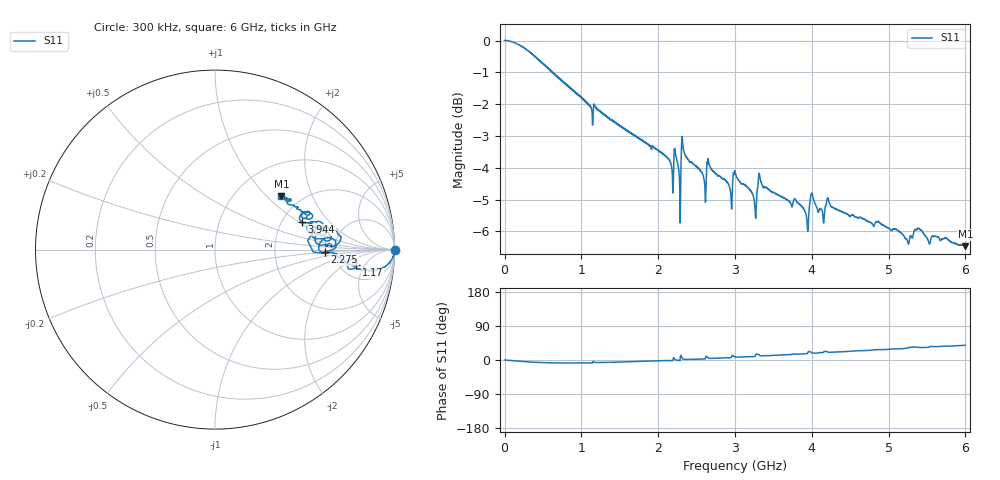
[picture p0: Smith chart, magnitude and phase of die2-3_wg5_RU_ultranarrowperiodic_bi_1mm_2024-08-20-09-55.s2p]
!Keysight Technologies,P9374A,MY57304198,A.17.20.09
!Date: Tuesday, August 20, 2024 09:55:30
!Correction: S11(C  1-Port  )
!S21(C  1-Port  )
!S12(Off)
!S22(Off)
!S2P File: Measurements: S11, S21, S12, S22:
# Hz S  dB  R 50
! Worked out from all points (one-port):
!   6000 points, 300 kHz to 6 GHz, reference 50 ohm
!   lowest |S11| = -6.5 dB at 5.999 GHz (marker M1), VSWR 2.81, Z = 79.7 + j61.3 ohm
!   |S11| at or under -10 dB: nowhere
!   S11 on the Smith chart (normalised r, x): 300 kHz: open; 1.17 GHz: 7.03, -3.24; 2.275 GHz: 4.15, -0.18; 3.944 GHz: 2.56, +1.06; 6 GHz: 1.59, +1.23
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300000  0.00 -0.0  -200.00 45.0  -200.00 45.0  -200.00 45.0
4.253496e8  -0.56 -6.3  -200.00 45.0  -200.00 45.0  -200.00 45.0
1.000417e9  -1.79 -7.7  -200.00 45.0  -200.00 45.0  -200.00 45.0
1.170437e9  -2.04 -6.3  -200.00 45.0  -200.00 45.0  -200.00 45.0
2.000533e9  -3.45 -2.2  -200.00 45.0  -200.00 45.0  -200.00 45.0
2.173554e9  -3.96 -1.6  -200.00 45.0  -200.00 45.0  -200.00 45.0
2.233561e9  -3.68 -0.0  -200.00 45.0  -200.00 45.0  -200.00 45.0
2.255563e9  -3.89 -0.5  -200.00 45.0  -200.00 45.0  -200.00 45.0
2.274565e9  -4.26 -1.3  -200.00 45.0  -200.00 45.0  -200.00 45.0
2.330572e9  -3.44 2.0  -200.00 45.0  -200.00 45.0  -200.00 45.0
2.598603e9  -4.38 2.5  -200.00 45.0  -200.00 45.0  -200.00 45.0
2.662611e9  -3.89 4.6  -200.00 45.0  -200.00 45.0  -200.00 45.0
2.939643e9  -4.72 6.0  -200.00 45.0  -200.00 45.0  -200.00 45.0
3.00065e9  -4.11 8.4  -200.00 45.0  -200.00 45.0  -200.00 45.0
3.25768e9  -5.18 9.3  -200.00 45.0  -200.00 45.0  -200.00 45.0
3.297685e9  -4.61 15.2  -200.00 45.0  -200.00 45.0  -200.00 45.0
3.333689e9  -4.41 11.2  -200.00 45.0  -200.00 45.0  -200.00 45.0
3.94376e9  -5.89 17.6  -200.00 45.0  -200.00 45.0  -200.00 45.0
4.000767e9  -4.79 19.3  -200.00 45.0  -200.00 45.0  -200.00 45.0
5.000883e9  -5.91 28.1  -200.00 45.0  -200.00 45.0  -200.00 45.0
5.999e9  -6.47 38.9  -200.00 45.0  -200.00 45.0  -200.00 45.0
6e9  -6.46 38.9  -200.00 45.0  -200.00 45.0  -200.00 45.0
